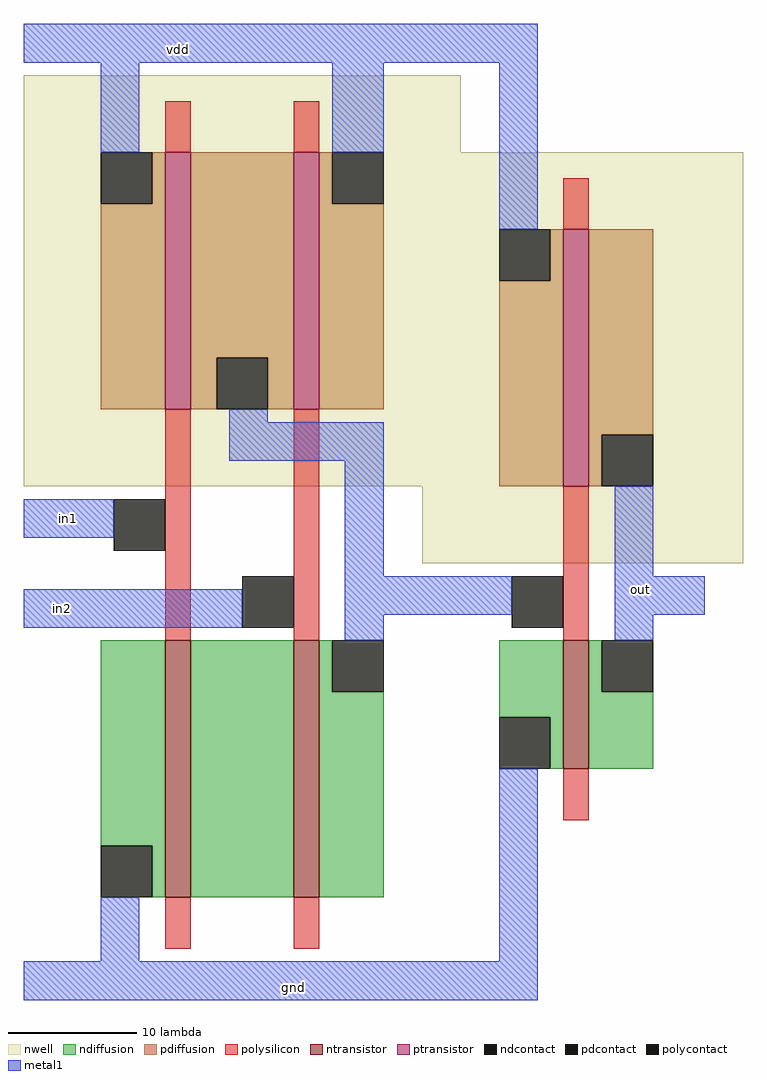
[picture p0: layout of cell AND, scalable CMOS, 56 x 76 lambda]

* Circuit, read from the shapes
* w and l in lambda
.subckt AND gnd in1 in2 out vdd
M1 n1 in1 gnd VSUBS nfet w=20 l=2
M2 n2 in2 n1 VSUBS nfet w=20 l=2
M3 out n2 gnd VSUBS nfet w=10 l=2
M4 n2 in1 vdd n3 pfet w=20 l=2
M5 vdd in2 n2 n3 pfet w=20 l=2
M6 out n2 vdd n3 pfet w=20 l=2
.ends

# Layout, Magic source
magic
tech scmos
<< nwell >>
rect -1 62 33 68
rect -1 36 55 62
rect 30 30 55 36
<< ntransistor >>
rect 10 4 12 24
rect 20 4 22 24
rect 41 14 43 24
<< ptransistor >>
rect 10 42 12 62
rect 20 42 22 62
rect 41 36 43 56
<< ndiffusion >>
rect 5 8 10 24
rect 9 4 10 8
rect 12 4 20 24
rect 22 20 23 24
rect 22 4 27 20
rect 36 18 41 24
rect 40 14 41 18
rect 43 20 44 24
rect 43 14 48 20
<< pdiffusion >>
rect 9 58 10 62
rect 5 42 10 58
rect 12 46 20 62
rect 12 42 14 46
rect 18 42 20 46
rect 22 58 23 62
rect 22 42 27 58
rect 40 52 41 56
rect 36 36 41 52
rect 43 40 48 56
rect 43 36 44 40
<< ndcontact >>
rect 5 4 9 8
rect 23 20 27 24
rect 36 14 40 18
rect 44 20 48 24
<< pdcontact >>
rect 5 58 9 62
rect 14 42 18 46
rect 23 58 27 62
rect 36 52 40 56
rect 44 36 48 40
<< polysilicon >>
rect 10 62 12 66
rect 20 62 22 66
rect 41 56 43 60
rect 10 24 12 42
rect 20 24 22 42
rect 41 24 43 36
rect 41 10 43 14
rect 10 0 12 4
rect 20 0 22 4
<< polycontact >>
rect 6 31 10 35
rect 16 25 20 29
rect 37 25 41 29
<< metal1 >>
rect -1 69 39 72
rect 5 62 8 69
rect 23 62 27 69
rect 36 56 39 69
rect 15 41 18 42
rect 15 38 27 41
rect -1 32 6 35
rect 24 29 27 38
rect 45 29 48 36
rect -1 25 16 28
rect 24 26 37 29
rect 24 24 27 26
rect 45 26 52 29
rect 45 24 48 26
rect 5 -1 8 4
rect 36 -1 39 14
rect -1 -4 39 -1
<< labels >>
rlabel metal1 11 70 11 70 5 vdd
rlabel metal1 2 33 3 34 1 in1
rlabel metal1 2 26 2 27 1 in2
rlabel metal1 20 -3 20 -3 1 gnd
rlabel metal1 47 28 47 28 1 out
<< end >>
